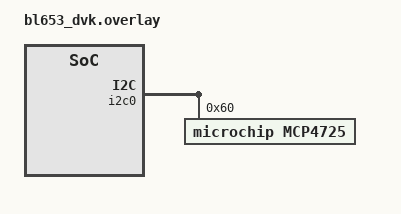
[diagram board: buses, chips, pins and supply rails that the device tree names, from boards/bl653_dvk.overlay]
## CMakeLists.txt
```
# SPDX-License-Identifier: Apache-2.0

cmake_minimum_required(VERSION 3.13.1)

find_package(Zephyr REQUIRED HINTS $ENV{ZEPHYR_BASE})
project(dac_loopback)

FILE(GLOB app_sources src/*.c)
target_sources(app PRIVATE ${app_sources})
```

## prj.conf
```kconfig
CONFIG_ZTEST=y

CONFIG_DAC=y
CONFIG_ADC=y
```

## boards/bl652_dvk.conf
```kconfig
#
# Copyright (c) 2021 Laird Connectivity
#
# SPDX-License-Identifier: Apache-2.0
#
CONFIG_I2C=y
CONFIG_DAC_MCP4725=y
```

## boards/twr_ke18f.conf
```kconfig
CONFIG_DAC_MCUX_DAC32_TESTOUT=y
```

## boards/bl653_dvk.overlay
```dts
/*
 * Copyright 2021 Laird Connectivity
 *
 * SPDX-License-Identifier: Apache-2.0
 */

&i2c0 {
	dac0: mcp4725@60 {
		/* MCP4725 not populated at factory */
		compatible = "microchip,mcp4725";
		reg = <0x60>;
		label = "MCP4725";
		#io-channel-cells = <1>;
	};
};
```

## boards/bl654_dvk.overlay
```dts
/*
 * Copyright 2021 Laird Connectivity
 *
 * SPDX-License-Identifier: Apache-2.0
 */

&i2c0 {
	mcp4725@60 {
		/* MCP4725 not populated at factory */
		compatible = "microchip,mcp4725";
		reg = <0x60>;
		label = "MCP4725";
		#io-channel-cells = <1>;
	};
};
```

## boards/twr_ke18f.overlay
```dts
/*
 * Copyright 2020 Henrik Brix Andersen <henrik@brixandersen.dk>
 *
 * SPDX-License-Identifier: Apache-2.0
 */

&adc0 {
	/*
	 * Increase sample time to 5 microseconds since there is no
	 * buffer between DAC and ADC.
	 */
	sample-time = <250>;
};
```

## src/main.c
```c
/*
 * Copyright (c) 2020 Libre Solar Technologies GmbH
 *
 * SPDX-License-Identifier: Apache-2.0
 */

/**
 * @addtogroup t_driver_dac
 * @{
 * @defgroup t_dac_loopback test_dac_loopback
 * @}
 */

#include <zephyr.h>
#include <ztest.h>

extern void test_dac_loopback(void);

void test_main(void)
{
	ztest_test_suite(dac_loopback_test,
			 ztest_unit_test(test_dac_loopback));
	ztest_run_test_suite(dac_loopback_test);
}
```

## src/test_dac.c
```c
/*
 * Copyright (c) 2020 Libre Solar Technologies GmbH
 *
 * SPDX-License-Identifier: Apache-2.0
 */

/*
 * @addtogroup test_dac_loopback
 * @{
 * @defgroup t_dac_basic_loopback test_dac_loopback
 * @brief TestPurpose: read back DAC driver output with ADC
 * @}
 */

#include <drivers/dac.h>
#include <drivers/adc.h>
#include <zephyr.h>
#include <ztest.h>

/*
 * We need to define an ADC channel to read back the output generated by the
 * ADC. The two pins need to be connected with a jumper in order to pass the
 * test in actual hardware.
 *
 * ADC and DAC need to use the same reference voltage, as the test sampling
 * point is at half of the full scale voltage.
 */

#if defined(CONFIG_BOARD_NUCLEO_L073RZ) || \
	defined(CONFIG_BOARD_NUCLEO_L152RE) || \
	defined(CONFIG_BOARD_RONOTH_LODEV)

/*
 * DAC output on PA4 (Arduino A2 pin of Nucleo board)
 * ADC input read from PA1 (Arduino A1 pin of Nucleo board)
 */

#define DAC_DEVICE_NAME		DT_LABEL(DT_NODELABEL(dac1))
#define DAC_CHANNEL_ID		1
#define DAC_RESOLUTION		12

#define ADC_DEVICE_NAME		DT_LABEL(DT_NODELABEL(adc1))
#define ADC_CHANNEL_ID		1
#define ADC_RESOLUTION		12
#define ADC_GAIN		ADC_GAIN_1
#define ADC_REFERENCE		ADC_REF_INTERNAL
#define ADC_ACQUISITION_TIME	ADC_ACQ_TIME_DEFAULT

#elif defined(CONFIG_BOARD_NUCLEO_F207ZG)
/*
 * DAC output on PA4
 * ADC input read from PA0
 */

#define DAC_DEVICE_NAME		DT_LABEL(DT_NODELABEL(dac1))
#define DAC_CHANNEL_ID		1
#define DAC_RESOLUTION		12

#define ADC_DEVICE_NAME		DT_LABEL(DT_NODELABEL(adc1))
#define ADC_CHANNEL_ID		0
#define ADC_RESOLUTION		12
#define ADC_GAIN		ADC_GAIN_1
#define ADC_REFERENCE		ADC_REF_INTERNAL
#define ADC_ACQUISITION_TIME	ADC_ACQ_TIME_DEFAULT

#elif defined(CONFIG_BOARD_TWR_KE18F)

/*
 * DAC0 output is internally available on ADC0_SE23 when test output
 * is enabled.
 */

#define DAC_DEVICE_NAME		DT_LABEL(DT_NODELABEL(dac0))
#define DAC_RESOLUTION		12
#define DAC_CHANNEL_ID		0

#define ADC_DEVICE_NAME		DT_LABEL(DT_NODELABEL(adc0))
#define ADC_RESOLUTION		12
#define ADC_GAIN		ADC_GAIN_1
#define ADC_REFERENCE		ADC_REF_INTERNAL
#define ADC_ACQUISITION_TIME	ADC_ACQ_TIME_DEFAULT
#define ADC_CHANNEL_ID		23

#elif defined(CONFIG_BOARD_FRDM_K64F)

/* DAC0 output is internally available on ADC0_SE23 */

#define DAC_DEVICE_NAME		DT_LABEL(DT_NODELABEL(dac0))
#define DAC_RESOLUTION		12
#define DAC_CHANNEL_ID		0

#define ADC_DEVICE_NAME		DT_LABEL(DT_NODELABEL(adc0))
#define ADC_RESOLUTION		12
#define ADC_GAIN		ADC_GAIN_1
#define ADC_REFERENCE		ADC_REF_INTERNAL
#define ADC_ACQUISITION_TIME	ADC_ACQ_TIME_DEFAULT
#define ADC_CHANNEL_ID		23

#elif defined(CONFIG_BOARD_FRDM_K22F)

/* DAC0 output is internally available on ADC0_SE23 */

#define DAC_DEVICE_NAME		DT_LABEL(DT_NODELABEL(dac0))
#define DAC_RESOLUTION		12
#define DAC_CHANNEL_ID		0

#define ADC_DEVICE_NAME		DT_LABEL(DT_NODELABEL(adc0))
#define ADC_RESOLUTION		12
#define ADC_GAIN		ADC_GAIN_1
#define ADC_REFERENCE		ADC_REF_INTERNAL
#define ADC_ACQUISITION_TIME	ADC_ACQ_TIME_DEFAULT
#define ADC_CHANNEL_ID		23

#elif defined(CONFIG_BOARD_BL652_DVK) || \
	defined(CONFIG_BOARD_BL653_DVK) || \
	defined(CONFIG_BOARD_BL654_DVK)
#include <hal/nrf_saadc.h>
 /* DAC output from MCP4725 pin 1
  * ADC_1 input read from pin SIO_3
  * Note external DAC MCP4725 is not populated on BL652_DVK, BL653_DVK and
  * BL654_DVK at factory
  */

#define DAC_DEVICE_NAME		DT_LABEL(DT_NODELABEL(dac0))
#define DAC_RESOLUTION		12
#define DAC_CHANNEL_ID		0

#define ADC_DEVICE_NAME		DT_LABEL(DT_NODELABEL(adc))
#define ADC_RESOLUTION		12
#define ADC_GAIN		ADC_GAIN_1_4
#define ADC_REFERENCE		ADC_REF_VDD_1_4
#define ADC_ACQUISITION_TIME	ADC_ACQ_TIME_DEFAULT
#define ADC_CHANNEL_ID		1
#define ADC_1ST_CHANNEL_INPUT	NRF_SAADC_INPUT_AIN1

#else
#error "Unsupported board."
#endif

static const struct dac_channel_cfg dac_ch_cfg = {
	.channel_id = DAC_CHANNEL_ID,
	.resolution = DAC_RESOLUTION
};

static const struct adc_channel_cfg adc_ch_cfg = {
	.gain             = ADC_GAIN,
	.reference        = ADC_REFERENCE,
	.acquisition_time = ADC_ACQUISITION_TIME,
	.channel_id       = ADC_CHANNEL_ID,

#if defined(CONFIG_BOARD_BL652_DVK) || \
	defined(CONFIG_BOARD_BL653_DVK) || \
	defined(CONFIG_BOARD_BL654_DVK)
	.input_positive   = ADC_1ST_CHANNEL_INPUT,
#endif
};

static const struct device *init_dac(void)
{
	int ret;
	const struct device *dac_dev = device_get_binding(DAC_DEVICE_NAME);

	zassert_not_null(dac_dev, "Cannot get DAC device");

	ret = dac_channel_setup(dac_dev, &dac_ch_cfg);
	zassert_equal(ret, 0,
		"Setting up of the first channel failed with code %d", ret);

	return dac_dev;
}

/* ADC necessary to read back the value from DAC */
static const struct device *init_adc(void)
{
	int ret;
	const struct device *adc_dev = device_get_binding(ADC_DEVICE_NAME);

	zassert_not_null(adc_dev, "Cannot get ADC device");

	ret = adc_channel_setup(adc_dev, &adc_ch_cfg);
	zassert_equal(ret, 0,
		"Setting up of the ADC channel failed with code %d", ret);

	return adc_dev;
}

/*
 * test_dac_loopback
 */
static int test_task_loopback(void)
{
	int ret;

	const struct device *dac_dev = init_dac();
	const struct device *adc_dev = init_adc();

	if (!dac_dev || !adc_dev) {
		return TC_FAIL;
	}

	/* write a value of half the full scale resolution */
	ret = dac_write_value(dac_dev, DAC_CHANNEL_ID,
		(1U << DAC_RESOLUTION) / 2);
	zassert_equal(ret, 0, "dac_write_value() failed with code %d", ret);

	/* wait to let DAC output settle */
	k_sleep(K_MSEC(10));

	static int16_t m_sample_buffer[1];
	static const struct adc_sequence sequence = {
		.channels    = BIT(ADC_CHANNEL_ID),
		.buffer      = m_sample_buffer,
		.buffer_size = sizeof(m_sample_buffer),
		.resolution  = ADC_RESOLUTION,
	};

	ret = adc_read(adc_dev, &sequence);
	zassert_equal(ret, 0, "adc_read() failed with code %d", ret);
	zassert_within(m_sample_buffer[0],
		(1U << ADC_RESOLUTION) / 2, 32,
		"Value %d read from ADC does not match expected range.",
		m_sample_buffer[0]);

	return TC_PASS;
}

void test_dac_loopback(void)
{
	zassert_true(test_task_loopback() == TC_PASS, NULL);
}
```
